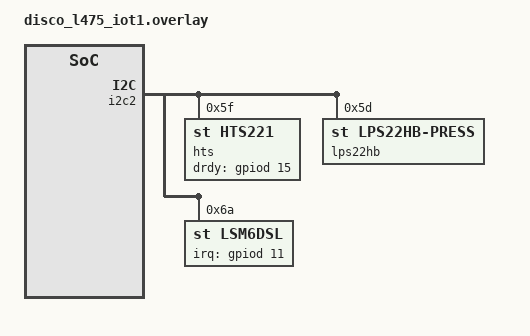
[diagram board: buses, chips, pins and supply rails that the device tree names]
/delete-node/ &boot_partition;
/delete-node/ &slot0_partition;
/delete-node/ &storage_partition;
/delete-node/ &slot1_partition;
/delete-node/ &slot2_partition;

&flash0 {
	partitions {
		compatible = "fixed-partitions";

		boot_partition: partition@0 {
			label = "mcu-boot";
			reg = <0x0 DT_SIZE_K(64)>;
			read-only;
		};
		
		slot0_partition: partition@10000 {
			label = "image-0";
			reg = <0x10000 DT_SIZE_K(100)>;
		};

		slot1_partition: partition@29000 {
			label = "image-1";
			reg = <0x29000 DT_SIZE_K(100)>;
		};

		storage_partition: partition@42000 {
			label = "storage";
			reg = <0x42000 DT_SIZE_K(32)>;
		};

		lfs1_partition: partition@4A000 {
			label = "lfs1";
			reg = <0x4A000 DT_SIZE_K(100)>;
		};
	};
};


/ {
    aliases {
        ht-sensor = &hts;
        pressure-sensor = &lps22hb;
        imu-sensor = &lsm6dsl;
    };
};

&i2c2 {

    hts: hts221@5f {
        compatible = "st,hts221";
        reg = <0x5f>;
        drdy-gpios = <&gpiod 15 GPIO_ACTIVE_HIGH>;
    };

    lps22hb: lps22hb-press@5d {
        compatible = "st,lps22hb-press";
        reg = <0x5d>;
    };

    lsm6dsl: lsm6dsl@6a {
        compatible = "st,lsm6dsl";
        reg = <0x6a>;
        irq-gpios = <&gpiod 11 GPIO_ACTIVE_HIGH>;
    };
};
